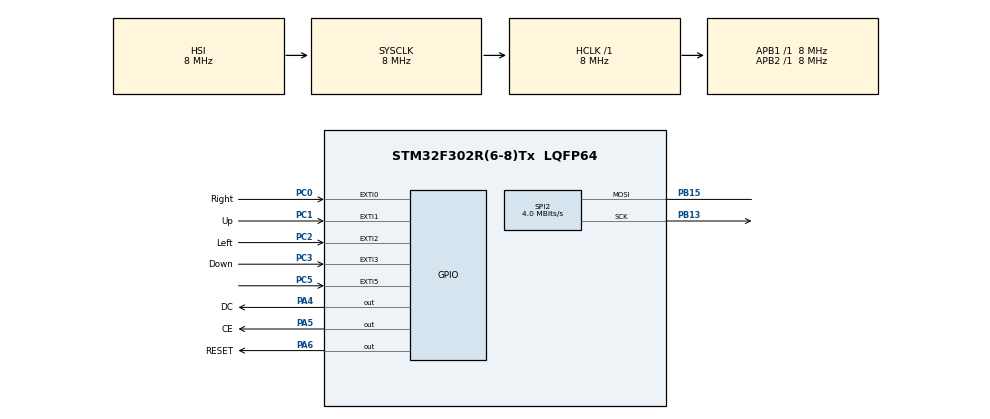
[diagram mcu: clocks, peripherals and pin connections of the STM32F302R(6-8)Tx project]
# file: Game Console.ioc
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Mcu.Family=STM32F3
NVIC.EXTI2_TSC_IRQn=true\:0\:0\:false\:false\:true\:true\:true
RCC.CortexFreq_Value=8000000
SPI2.VirtualType=VM_MASTER
PC2.Signal=GPXTI2
NVIC.EXTI3_IRQn=true\:0\:0\:false\:false\:true\:true\:true
PC0.GPIO_Label=Right
PA6.PinState=GPIO_PIN_SET
PA6.GPIO_Label=RESET
PC0.Signal=GPXTI0
PB13.Signal=SPI2_SCK
PB15.Signal=SPI2_MOSI
PA5.PinState=GPIO_PIN_SET
ProjectManager.StackSize=0x400
PA13.Signal=SYS_JTMS-SWDIO
NVIC.EXTI1_IRQn=true\:0\:0\:false\:false\:true\:true\:true
PA4.PinState=GPIO_PIN_SET
PC14\ -\ OSC32_IN.Mode=LSE-External-Oscillator
ProjectManager.TargetToolchain=STM32CubeIDE
PC3.Signal=GPXTI3
RCC.AHBFreq_Value=8000000
PF0-OSC_IN.Mode=HSE-External-Oscillator
PC15\ -\ OSC32_OUT.Signal=RCC_OSC32_OUT
PA5.Signal=GPIO_Output
RCC.HSE_VALUE=8000000
board=custom
PC1.GPIO_PuPd=GPIO_PULLDOWN
PB15.Mode=Simplex_Bidirectional_Master
RCC.APB2Freq_Value=8000000
PC1.GPIO_Label=Up
SPI2.CalculateBaudRate=4.0 MBits/s
PC2.GPIO_PuPd=GPIO_PULLDOWN
Mcu.Name=STM32F302R(6-8)Tx
PB3.Signal=SYS_JTDO-TRACESWO
NVIC.EXTI0_IRQn=true\:0\:0\:false\:false\:true\:true\:true
PA4.Signal=GPIO_Output
RCC.SYSCLKFreq_VALUE=8000000
Mcu.Package=LQFP64
PA6.Signal=GPIO_Output
SPI2.Mode=SPI_MODE_MASTER
PA5.GPIO_Label=CE
NVIC.EXTI9_5_IRQn=true\:0\:0\:false\:false\:true\:true\:true
PA14.Signal=SYS_JTCK-SWCLK
PC15\ -\ OSC32_OUT.Mode=LSE-External-Oscillator
PA15.Signal=SYS_JTDI
ProjectManager.HeapSize=0x200
RCC.HSI_VALUE=8000000
NVIC.PriorityGroup=NVIC_PRIORITYGROUP_4
PC3.GPIO_Label=Down
SPI2.DataSize=SPI_DATASIZE_8BIT
SPI2.Direction=SPI_DIRECTION_1LINE
PC5.Signal=GPXTI5
PB13.Mode=Simplex_Bidirectional_Master
PF0-OSC_IN.Signal=RCC_OSC_IN
PC0.GPIO_PuPd=GPIO_PULLDOWN
PF1-OSC_OUT.Mode=HSE-External-Oscillator
RCC.APB1Freq_Value=8000000
PA4.GPIO_Label=DC
PC2.GPIO_Label=Left
PC1.Signal=GPXTI1
PF1-OSC_OUT.Signal=RCC_OSC_OUT
PC3.GPIO_PuPd=GPIO_PULLDOWN
PC14\ -\ OSC32_IN.Signal=RCC_OSC32_IN

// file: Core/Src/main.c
/* USER CODE BEGIN Header */
/**
  ******************************************************************************
  * @file           : main.c
  * @brief          : Main program body
  ******************************************************************************
  * @attention
  *
  * <h2><center>&copy; Copyright (c) 2021 STMicroelectronics.
  * All rights reserved.</center></h2>
  *
  * This software component is licensed by ST under BSD 3-Clause license,
  * the "License"; You may not use this file except in compliance with the
  * License. You may obtain a copy of the License at:
  *                        opensource.org/licenses/BSD-3-Clause
  *
  ******************************************************************************
  */
/* USER CODE END Header */
#include "main.h"
#include "spi.h"
#include "gpio.h"

/* USER CODE BEGIN Includes */
#include "stm32f3xx_hal.h"
#include "lcd.h"
#include "main_menu.h"
/* USER CODE END Includes */

uint8_t game_choosen = 4;
/* USER CODE BEGIN PV */
void HAL_GPIO_EXTI_Callback(uint16_t GPIO_Pin){

	if(GPIO_Pin == Down_Pin)
	{
		main_menu_down_button();
	}

	if(GPIO_Pin == Up_Pin)
	{
		main_menu_up_button();
	}

	if(GPIO_Pin == Right_Pin)
	{
		game_choosen = main_menu_right_button();
	}

}
/* USER CODE END PV */

void SystemClock_Config(void);

int main(void)
{

  /* MCU Configuration--------------------------------------------------------*/

  /* Reset of all peripherals, Initializes the Flash interface and the Systick. */
  HAL_Init();

  /* Configure the system clock */
  SystemClock_Config();

  /* Initialize all configured peripherals */
  MX_GPIO_Init();
  MX_SPI2_Init();
  /* USER CODE BEGIN 2 */
  HAL_GPIO_WritePin(CE_GPIO_Port, CE_Pin, GPIO_PIN_SET);
  HAL_GPIO_WritePin(RESET_GPIO_Port, RESET_Pin, GPIO_PIN_SET);

  lcd_reset();
  lcd_setup();

  start_console();
  /* USER CODE END 2 */

  /* Infinite loop */
  while (1)
  {
	  switch(game_choosen)
			case 4: menu_screen(); break;
		//	case 0:
  }
}

void SystemClock_Config(void)
{
  RCC_OscInitTypeDef RCC_OscInitStruct = {0};
  RCC_ClkInitTypeDef RCC_ClkInitStruct = {0};

  /** Initializes the RCC Oscillators according to the specified parameters
  * in the RCC_OscInitTypeDef structure.
  */
  RCC_OscInitStruct.OscillatorType = RCC_OSCILLATORTYPE_HSI;
  RCC_OscInitStruct.HSIState = RCC_HSI_ON;
  RCC_OscInitStruct.HSICalibrationValue = RCC_HSICALIBRATION_DEFAULT;
  RCC_OscInitStruct.PLL.PLLState = RCC_PLL_NONE;
  if (HAL_RCC_OscConfig(&RCC_OscInitStruct) != HAL_OK)
  {
    Error_Handler();
  }
  /** Initializes the CPU, AHB and APB buses clocks
  */
  RCC_ClkInitStruct.ClockType = RCC_CLOCKTYPE_HCLK|RCC_CLOCKTYPE_SYSCLK
                              |RCC_CLOCKTYPE_PCLK1|RCC_CLOCKTYPE_PCLK2;
  RCC_ClkInitStruct.SYSCLKSource = RCC_SYSCLKSOURCE_HSI;
  RCC_ClkInitStruct.AHBCLKDivider = RCC_SYSCLK_DIV1;
  RCC_ClkInitStruct.APB1CLKDivider = RCC_HCLK_DIV1;
  RCC_ClkInitStruct.APB2CLKDivider = RCC_HCLK_DIV1;

  if (HAL_RCC_ClockConfig(&RCC_ClkInitStruct, FLASH_LATENCY_0) != HAL_OK)
  {
    Error_Handler();
  }
}

void Error_Handler(void)
{
  __disable_irq();
  while (1)
  {
  }
}

/************************ (C) COPYRIGHT STMicroelectronics *****END OF FILE****/
